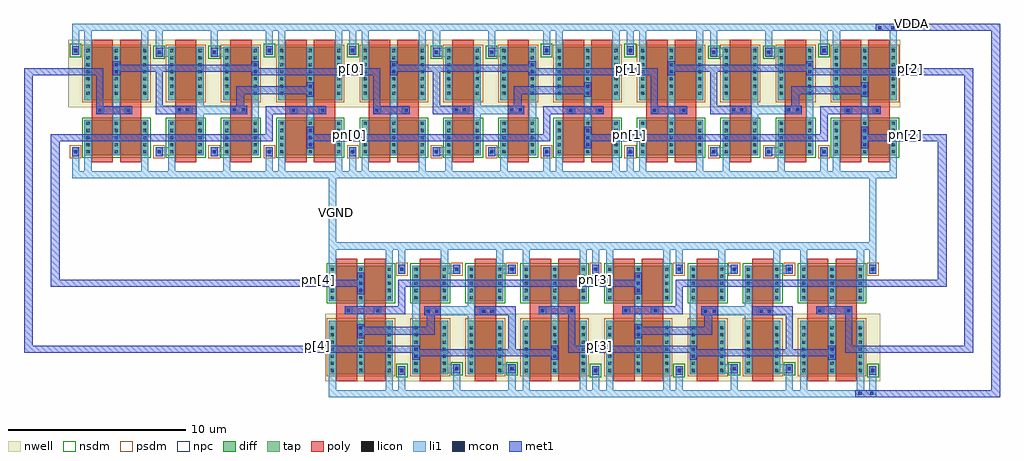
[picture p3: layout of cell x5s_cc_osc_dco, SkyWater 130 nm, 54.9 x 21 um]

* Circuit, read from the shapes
.subckt x5s_cc_osc_dco VDDA VGND p[0] p[1] p[2] p[3] p[4] pn[0] pn[1] pn[2] pn[3] pn[4]
XM1 p[0] p[4] VGND VGND sky130_fd_pr__nfet_01v8 w=2 l=1.2 m=2
XM2 pn[0] p[0] VGND VGND sky130_fd_pr__nfet_01v8 w=2 l=1.2
XM3 p[0] pn[0] VGND VGND sky130_fd_pr__nfet_01v8 w=2 l=1.2
XM4 pn[0] pn[4] VGND VGND sky130_fd_pr__nfet_01v8 w=2 l=1.2 m=2
XM5 pn[4] pn[3] VGND VGND sky130_fd_pr__nfet_01v8 w=2 l=1.2 m=2
XM6 p[1] p[0] VGND VGND sky130_fd_pr__nfet_01v8 w=2 l=1.2 m=2
XM7 VGND pn[4] p[4] VGND sky130_fd_pr__nfet_01v8 w=2 l=1.2
XM8 pn[1] p[1] VGND VGND sky130_fd_pr__nfet_01v8 w=2 l=1.2
XM9 VGND p[4] pn[4] VGND sky130_fd_pr__nfet_01v8 w=2 l=1.2
XM10 p[1] pn[1] VGND VGND sky130_fd_pr__nfet_01v8 w=2 l=1.2
XM11 p[4] p[3] VGND VGND sky130_fd_pr__nfet_01v8 w=2 l=1.2 m=2
XM12 pn[1] pn[0] VGND VGND sky130_fd_pr__nfet_01v8 w=2 l=1.2 m=2
XM13 pn[3] pn[2] VGND VGND sky130_fd_pr__nfet_01v8 w=2 l=1.2 m=2
XM14 p[2] p[1] VGND VGND sky130_fd_pr__nfet_01v8 w=2 l=1.2 m=2
XM15 VGND pn[3] p[3] VGND sky130_fd_pr__nfet_01v8 w=2 l=1.2
XM16 pn[2] p[2] VGND VGND sky130_fd_pr__nfet_01v8 w=2 l=1.2
XM17 VGND p[3] pn[3] VGND sky130_fd_pr__nfet_01v8 w=2 l=1.2
XM18 p[2] pn[2] VGND VGND sky130_fd_pr__nfet_01v8 w=2 l=1.2
XM19 p[3] p[2] VGND VGND sky130_fd_pr__nfet_01v8 w=2 l=1.2 m=2
XM20 pn[2] pn[1] VGND VGND sky130_fd_pr__nfet_01v8 w=2 l=1.2 m=2
XM21 p[0] p[4] VDDA VDDA sky130_fd_pr__pfet_01v8 w=3 l=1.2 m=2
XM22 pn[0] p[0] VDDA VDDA sky130_fd_pr__pfet_01v8 w=3 l=1.2
XM23 p[0] pn[0] VDDA VDDA sky130_fd_pr__pfet_01v8 w=3 l=1.2
XM24 pn[0] pn[4] VDDA VDDA sky130_fd_pr__pfet_01v8 w=3 l=1.2 m=2
XM25 pn[4] pn[3] VDDA VDDA sky130_fd_pr__pfet_01v8 w=3 l=1.2 m=2
XM26 p[1] p[0] VDDA VDDA sky130_fd_pr__pfet_01v8 w=3 l=1.2 m=2
XM27 VDDA pn[4] p[4] VDDA sky130_fd_pr__pfet_01v8 w=3 l=1.2
XM28 pn[1] p[1] VDDA VDDA sky130_fd_pr__pfet_01v8 w=3 l=1.2
XM29 VDDA p[4] pn[4] VDDA sky130_fd_pr__pfet_01v8 w=3 l=1.2
XM30 p[1] pn[1] VDDA VDDA sky130_fd_pr__pfet_01v8 w=3 l=1.2
XM31 p[4] p[3] VDDA VDDA sky130_fd_pr__pfet_01v8 w=3 l=1.2 m=2
XM32 pn[1] pn[0] VDDA VDDA sky130_fd_pr__pfet_01v8 w=3 l=1.2 m=2
XM33 pn[3] pn[2] VDDA VDDA sky130_fd_pr__pfet_01v8 w=3 l=1.2 m=2
XM34 p[2] p[1] VDDA VDDA sky130_fd_pr__pfet_01v8 w=3 l=1.2 m=2
XM35 VDDA pn[3] p[3] VDDA sky130_fd_pr__pfet_01v8 w=3 l=1.2
XM36 pn[2] p[2] VDDA VDDA sky130_fd_pr__pfet_01v8 w=3 l=1.2
XM37 VDDA p[3] pn[3] VDDA sky130_fd_pr__pfet_01v8 w=3 l=1.2
XM38 p[2] pn[2] VDDA VDDA sky130_fd_pr__pfet_01v8 w=3 l=1.2
XM39 p[3] p[2] VDDA VDDA sky130_fd_pr__pfet_01v8 w=3 l=1.2 m=2
XM40 pn[2] pn[1] VDDA VDDA sky130_fd_pr__pfet_01v8 w=3 l=1.2 m=2
.ends

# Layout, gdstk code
from math import pi, radians
import gdstk
lib = gdstk.Library(unit=1e-6, precision=1e-09)
def R(c, l, rs):  # rectangles x0, y0, x1, y1
    for r in rs: c.add(gdstk.rectangle(r[:2], r[2:], *l))
def A(c, l, x, y, w, h, nx, ny, dx, dy):  # array of equal rectangles
    R(c, l, [(x+i*dx, y+j*dy, x+i*dx+w, y+j*dy+h) for i in range(nx) for j in range(ny)])
nwell = (64, 20)
diff = (65, 20)
tap = (65, 44)
poly = (66, 20)
licon = (66, 44)
li1 = (67, 20)
mcon = (67, 44)
met1 = (68, 20)
nsdm = (93, 44)
psdm = (94, 20)
npc = (95, 20)

main_inv_dco = lib.new_cell('main_inv_dco')
R(main_inv_dco, nwell, [(-1.3,-0.4,3.4,3.4)])
R(main_inv_dco, diff, [(-0.4,-3.1,3.2,-1.1), (-0.4,0,3.2,3)])
R(main_inv_dco, tap, [(-1.1,-3.15,-0.7,-2.65), (-1.1,2.55,-0.7,3.05)])
R(main_inv_dco, poly, [(0,-3.5,1.2,-0.7), (1.6,-3.5,2.8,-0.7), (0,-0.7,2.8,-0.4), (0,-0.4,1.2,3.4), (1.6,-0.4,2.8,3.4)])
A(main_inv_dco, licon, -0.285, -2.985, 0.17, 0.17, 3, 5, 1.6, 0.4)
A(main_inv_dco, licon, -0.285, 0.315, 0.17, 0.17, 3, 7, 1.6, 0.4)
R(main_inv_dco, licon, [(-0.985,-2.985,-0.815,-2.815), (0.365,-0.635,0.535,-0.465), (2.015,-0.635,2.185,-0.465), (-0.985,2.715,-0.815,2.885)])
R(main_inv_dco, li1, [(-1.1,-4.4,3.2,-4), (-1.1,-4,-0.7,-2.65), (-0.4,-4,0,-1.1), (2.8,-4,3.2,-1.1), (1.2,-3.1,1.6,3), (0.25,-0.8,0.7,-0.35), (1.85,-0.8,2.3,-0.35), (-0.4,0,0,3.9), (2.8,0,3.2,3.9), (-1.1,2.55,-0.7,3.9), (-1.1,3.9,3.2,4.3)])
R(main_inv_dco, mcon, [(-0.985,-2.985,-0.815,-2.815), (0.365,-0.635,0.535,-0.465), (2.015,-0.635,2.185,-0.465), (-0.985,2.715,-0.815,2.885)])
R(main_inv_dco, met1, [(-1.1,-3.15,-0.7,-2.65), (0.25,-0.8,2.3,-0.35), (-1.1,2.55,-0.7,3.05)])
R(main_inv_dco, nsdm, [(-0.525,-3.225,3.325,-0.975), (-1.225,2.425,-0.575,3.175)])
R(main_inv_dco, psdm, [(-1.225,-3.275,-0.575,-2.525), (-0.525,-0.125,3.325,3.125)])
R(main_inv_dco, npc, [(0.265,-0.735,0.635,-0.365), (1.915,-0.735,2.285,-0.365)])
main_inv_dco.add(gdstk.Label('A', (0.25,-0.55), layer=68, texttype=5))
main_inv_dco.add(gdstk.Label('Y', (1.4,-3.1), layer=67, texttype=5))
main_inv_dco.add(gdstk.Label('VDDA', (-0.7,4.3), layer=67, texttype=5))
main_inv_dco.add(gdstk.Label('VGND', (-0.7,-4.4), layer=67, texttype=5))

aux_inv_dco = lib.new_cell('aux_inv_dco')
R(aux_inv_dco, nwell, [(-1.3,-0.4,1.8,3.4)])
R(aux_inv_dco, diff, [(-0.4,-3.1,1.6,-1.1), (-0.4,0,1.6,3)])
R(aux_inv_dco, tap, [(-1.1,-3.15,-0.7,-2.65), (-1.1,2.45,-0.7,2.95)])
R(aux_inv_dco, poly, [(0,-3.5,1.2,3.4)])
A(aux_inv_dco, licon, -0.285, -2.985, 0.17, 0.17, 1, 5, 0, 0.4)
A(aux_inv_dco, licon, 1.315, -2.985, 0.17, 0.17, 1, 5, 0, 0.4)
A(aux_inv_dco, licon, -0.285, 0.315, 0.17, 0.17, 1, 7, 0, 0.4)
A(aux_inv_dco, licon, 1.315, 0.315, 0.17, 0.17, 1, 7, 0, 0.4)
R(aux_inv_dco, licon, [(-0.985,-2.985,-0.815,-2.815), (-0.985,2.615,-0.815,2.785)])
R(aux_inv_dco, li1, [(-1.1,-3.15,-0.7,-3.1), (-1.1,-3.1,0,-2.65), (1.2,-3.1,1.6,3), (-0.4,-2.65,0,-1.1), (-0.4,0,0,2.45), (-1.1,2.45,0,2.95), (-0.4,2.95,0,3)])
R(aux_inv_dco, mcon, [(-0.985,-2.985,-0.815,-2.815), (-0.985,2.615,-0.815,2.785)])
R(aux_inv_dco, met1, [(-1.1,-3.15,-0.7,-2.65), (-1.1,2.45,-0.7,2.95)])
R(aux_inv_dco, nsdm, [(-0.525,-3.225,1.725,-0.975), (-1.225,2.325,-0.575,3.075)])
R(aux_inv_dco, psdm, [(-1.225,-3.275,-0.575,-2.525), (-0.525,-0.125,1.725,3.125)])
aux_inv_dco.add(gdstk.Label('A', (0,-0.55), layer=66, texttype=5))
aux_inv_dco.add(gdstk.Label('Y', (1.6,-0.55), layer=67, texttype=5))
aux_inv_dco.add(gdstk.Label('VDDA', (-0.2,3), layer=67, texttype=5))
aux_inv_dco.add(gdstk.Label('VGND', (-0.2,-3.1), layer=67, texttype=5))

cc_inv_dco = lib.new_cell('cc_inv_dco')
R(cc_inv_dco, nwell, [(13.5,5.1,13.7,5.3)])
R(cc_inv_dco, diff, [(13.5,5.1,13.7,5.3), (10.4,5.9,10.6,6.1), (3.6,6,3.95,6.4)])
R(cc_inv_dco, poly, [(9.95,3.6,10.05,3.75), (6.1,3.75,6.35,4), (6.55,3.75,6.8,4), (9.2,3.75,9.45,4), (9.7,3.75,10.05,4), (9.95,4,10.05,4.1), (3.6,6,3.95,6.4)])
R(cc_inv_dco, licon, [(6.14,3.79,6.31,3.96), (6.59,3.79,6.76,3.96), (9.24,3.79,9.41,3.96), (9.74,3.79,9.91,3.96), (13.515,5.115,13.685,5.285), (10.415,5.915,10.585,6.085)])
A(cc_inv_dco, li1, 13.5, 1.8, 0.2, 0.2, 1, 3, 0, 0.4)
R(cc_inv_dco, li1, [(3,0,11.55,0.4), (5.6,0.4,6,1.3), (8.7,0.4,9.1,1.3), (6,3.6,6.95,4.1), (7.6,3.6,10.05,4.1), (13.5,4.7,13.7,4.9), (13.5,5.1,13.7,5.3), (2.6,5.9,2.8,6.1), (10.4,5.9,10.6,6.1), (2.6,6.3,2.8,6.5), (10.4,6.3,10.6,6.5), (4.9,7.35,5.3,8.3), (8,7.35,8.4,8.3), (3.35,8.3,11.2,8.7)])
A(cc_inv_dco, mcon, 13.515, 1.815, 0.17, 0.17, 1, 3, 0, 0.4)
R(cc_inv_dco, mcon, [(6.14,3.79,6.31,3.96), (6.59,3.79,6.76,3.96), (9.24,3.79,9.41,3.96), (9.74,3.79,9.91,3.96), (13.515,4.715,13.685,4.885), (13.515,5.115,13.685,5.285), (2.615,5.915,2.785,6.085), (10.415,5.915,10.585,6.085), (2.615,6.315,2.785,6.485), (10.415,6.315,10.585,6.485)])
R(cc_inv_dco, met1, [(13.4,1.7,13.8,2.1), (0,2.1,11.5,2.5), (13.4,2.1,15.6,2.5), (11.1,2.5,11.5,3.6), (13.4,2.5,13.8,2.9), (4.9,3.6,7.2,4.1), (9.1,3.6,10.05,4.1), (11.1,3.6,12.5,4.05), (1.55,4.05,1.95,5.8), (4.9,4.1,5.3,6), (9.45,4.1,9.9,4.75), (13.4,4.6,13.8,4.75), (9.45,4.75,13.8,5.2), (13.4,5.2,13.8,5.4), (0,5.8,1.95,6.2), (2.5,5.8,2.9,6), (10.3,5.8,15.6,6), (2.5,6,15.6,6.2), (2.5,6.2,10.7,6.4), (2.5,6.4,2.9,6.6), (10.3,6.4,10.7,6.6)])
R(cc_inv_dco, psdm, [(13.375,4.975,13.825,5.425), (10.275,5.775,10.725,6.225), (3.475,5.875,4.075,6.525)])
R(cc_inv_dco, npc, [(6.04,3.69,6.86,4.06), (9.14,3.69,10.01,4.06)])
cc_inv_dco.add(gdstk.Reference(main_inv_dco, (12.2,4.4)))
cc_inv_dco.add(gdstk.Reference(main_inv_dco, (1.3,4.4)))
cc_inv_dco.add(gdstk.Reference(aux_inv_dco, (9.1,4.4)))
cc_inv_dco.add(gdstk.Reference(aux_inv_dco, (6,4.4)))
cc_inv_dco.add(gdstk.Label('inp', (0,6), layer=68, texttype=5))
cc_inv_dco.add(gdstk.Label('inn', (0,2.3), layer=68, texttype=5))
cc_inv_dco.add(gdstk.Label('outp', (15.6,6), layer=68, texttype=5))
cc_inv_dco.add(gdstk.Label('outn', (15.6,2.3), layer=68, texttype=5))
cc_inv_dco.add(gdstk.Label('VDDA', (4.9,8.7), layer=67, texttype=5))
cc_inv_dco.add(gdstk.Label('VGND', (4.85,0), layer=67, texttype=5))

x5s_cc_osc_dco = lib.new_cell('x5s_cc_osc_dco')
R(x5s_cc_osc_dco, li1, [(29.22,-11.4,30.58,-11), (45.05,-11.4,45.45,-11), (44.4,-11.3,44.65,-11.05), (14.65,-3.3,15.05,0.9), (45.05,-3.3,45.45,1.1), (29.2,-3.1,31.45,-2.7), (14.65,0.9,16.35,1.2), (30.6,0.9,32.15,1.3), (15,1.2,16.35,1.3), (14.59,9.2,16.04,9.6), (30.36,9.2,31.97,9.6), (45.4,9.2,45.8,9.6), (46.25,9.25,46.5,9.5)])
R(x5s_cc_osc_dco, mcon, [(44.44,-11.26,44.61,-11.09), (45.09,-11.26,45.26,-11.09), (45.54,9.29,45.71,9.46), (46.29,9.29,46.46,9.46)])
R(x5s_cc_osc_dco, met1, [(44.25,-11.4,52.4,-11), (51.9,-11,52.4,9.2), (-2.5,-8.9,14.45,-8.5), (29.15,-8.9,30.25,-8.5), (45.3,-8.9,50.9,-8.5), (-2.5,-8.5,-2,6.7), (50.4,-8.5,50.9,6.7), (-1,-5.2,14.45,-4.8), (29.15,-5.2,30.25,-4.8), (45.6,-5.2,49.4,-4.8), (-1,-4.8,-0.5,3), (48.9,-4.8,49.4,3), (-1,3,0,3.4), (15.4,3,16.5,3.4), (31,3,32.1,3.4), (46.75,3,49.4,3.4), (-2.5,6.7,0,7.1), (15.4,6.7,16.5,7.1), (31,6.7,32.1,7.1), (46.8,6.7,50.9,7.1), (45.4,9.2,52.4,9.6)])
x5s_cc_osc_dco.add(gdstk.Reference(cc_inv_dco, (45.65,-2.7), rotation=pi))
x5s_cc_osc_dco.add(gdstk.Reference(cc_inv_dco, (30.05,-2.7), rotation=pi))
x5s_cc_osc_dco.add(gdstk.Reference(cc_inv_dco, (31.2,0.9)))
x5s_cc_osc_dco.add(gdstk.Reference(cc_inv_dco, (15.6,0.9)))
x5s_cc_osc_dco.add(gdstk.Reference(cc_inv_dco, (0,0.9)))
x5s_cc_osc_dco.add(gdstk.Label('pn[0]', (15.8,3.4), layer=68, texttype=5))
x5s_cc_osc_dco.add(gdstk.Label('pn[1]', (31.55,3.4), layer=68, texttype=5))
x5s_cc_osc_dco.add(gdstk.Label('pn[2]', (47.1,3.4), layer=68, texttype=5))
x5s_cc_osc_dco.add(gdstk.Label('pn[3]', (29.65,-4.8), layer=68, texttype=5))
x5s_cc_osc_dco.add(gdstk.Label('pn[4]', (14.05,-4.8), layer=68, texttype=5))
x5s_cc_osc_dco.add(gdstk.Label('p[0]', (15.9,7.1), layer=68, texttype=5))
x5s_cc_osc_dco.add(gdstk.Label('p[1]', (31.5,7.1), layer=68, texttype=5))
x5s_cc_osc_dco.add(gdstk.Label('p[2]', (47.35,7.1), layer=68, texttype=5))
x5s_cc_osc_dco.add(gdstk.Label('p[3]', (29.85,-8.5), layer=68, texttype=5))
x5s_cc_osc_dco.add(gdstk.Label('p[4]', (14,-8.5), layer=68, texttype=5))
x5s_cc_osc_dco.add(gdstk.Label('VDDA', (47.4,9.6), layer=68, texttype=5))
x5s_cc_osc_dco.add(gdstk.Label('VGND', (15.05,-1), layer=67, texttype=5))

lib.write_gds('x5s_cc_osc_dco.gds')
